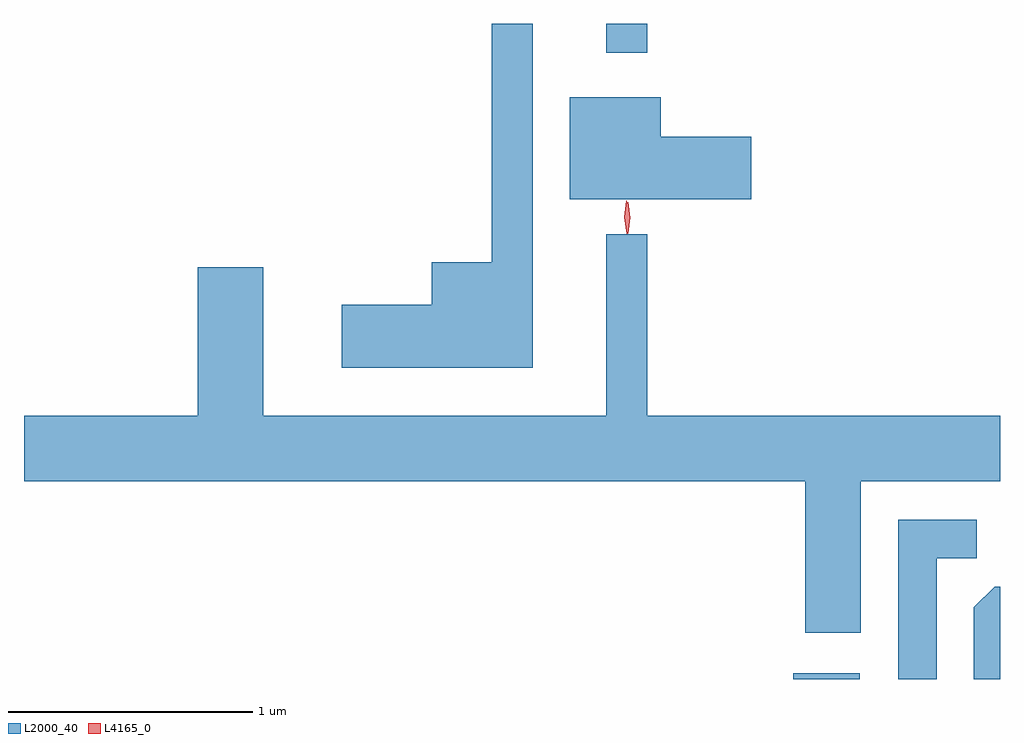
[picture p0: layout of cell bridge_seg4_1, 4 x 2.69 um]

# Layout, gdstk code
import gdstk
lib = gdstk.Library(unit=1e-6, precision=1e-09)
def R(c, l, rs):  # rectangles x0, y0, x1, y1
    for r in rs: c.add(gdstk.rectangle(r[:2], r[2:], *l))
def P(c, l, *ps):  # polygons
    for p in ps: c.add(gdstk.Polygon(p, *l))
L2000_40 = (2000, 40)
L4165_0 = (4165, 0)

bridge_seg4_1 = lib.new_cell('bridge_seg4_1')
R(bridge_seg4_1, L2000_40, [(1196.536,1389.384,1196.809,1389.409), (1195.771,1391.953,1195.939,1392.072)])
P(bridge_seg4_1, L2000_40, [(1195.469,1392.072),(1195.301,1392.072),(1195.301,1391.094),(1195.056,1391.094),(1195.056,1390.919),(1194.686,1390.919),(1194.686,1390.661),(1195.469,1390.661)],
  [(1196.364,1391.609),(1195.994,1391.609),(1195.994,1391.769),(1195.621,1391.769),(1195.621,1391.351),(1196.364,1391.351)],
  [(1196.814,1390.196),(1197.384,1390.196),(1197.384,1390.464),(1195.939,1390.464),(1195.939,1391.208),(1195.771,1391.208),(1195.771,1390.464),(1194.364,1390.464),(1194.364,1391.074),(1194.096,1391.074),(1194.096,1390.464),(1193.384,1390.464),(1193.384,1390.196),(1196.586,1390.196),(1196.586,1389.576),(1196.814,1389.576)],
  [(1197.124,1389.881),(1197.288,1389.881),(1197.288,1390.039),(1196.966,1390.039),(1196.966,1389.384),(1197.124,1389.384)],
  [(1197.384,1389.764),(1197.362,1389.764),(1197.276,1389.679),(1197.276,1389.384),(1197.384,1389.384)])
P(bridge_seg4_1, L4165_0, [(1195.854,1391.21),(1195.844,1391.278),(1195.853,1391.346),(1195.854,1391.346),(1195.854,1391.346),(1195.864,1391.278),(1195.856,1391.21),(1195.855,1391.21)],
  [(1195.859,1391.213),(1195.85,1391.276),(1195.859,1391.34),(1195.86,1391.34),(1195.86,1391.34),(1195.869,1391.276),(1195.86,1391.213),(1195.86,1391.213)])

lib.write_gds('bridge_seg4_1.gds')
